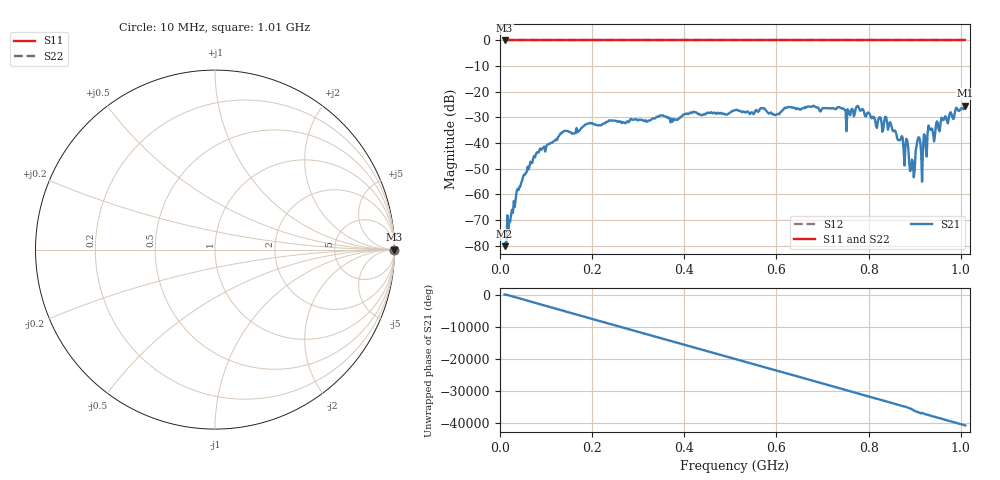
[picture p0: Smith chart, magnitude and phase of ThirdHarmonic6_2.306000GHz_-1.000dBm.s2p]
! 8/17/2025 3:10:10 AM
! C:\ANRITSUVNA\TEMP\TEMP.S2P
! CHANNEL.1
! TR.MEASUREMENT
! RAW.DATA
! RF.CORRECTION.OFF
! AVERAGING.OFF
! IF.BANDWIDTH: 5KHZ
! SWEEPTYPE:  FREQ.SWEEP(Linear)
! Reference Plane Port Info
! PORT:  PORT1  PORT2
! DISTANCE:  0  m  0  m
! TIME:  0  s  0  s
! PHASE.OFFSET:  0  deg.  0  deg.
! LOSS:  0  dB  0  dB
! REF.LOSS:  0  dB  0  dB
! REF.FREQ:  0  Hz  0  Hz
! Power Info
! POWER:  -20  dBm  -20  dBm
! EFF.POWER:  -20  dBm  -20  dBm
! SOURCE.ATTEN:  0  dB  0  dB
! TEST.ATTEN:  0  dB  0  dB
# GHZ S RI R 50.0
! FREQ.GHZ  S11RE  S11IM  S21RE  S21IM  S12RE  S12IM  S22RE  S22IM
!; PortSelection: Port_12
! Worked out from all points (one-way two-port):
!   501 points, 10 MHz to 1.01 GHz, reference 50 ohm
!   highest |S21| = -25.36 dB at 1.01 GHz (marker M1); lowest = -80.2 dB at 10 MHz (marker M2)
!   lowest |S11| = 0.0 dB at 10 MHz (marker M3)
!   |S11| at or under -10 dB: nowhere
!   |S22| runs from 0.0 to 0.0 dB; largest |S21 - S12| = 1.1
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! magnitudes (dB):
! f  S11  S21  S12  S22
! 10 MHz  0.0  -80.2  0.0  0.0
! 38 MHz  0.0  -57.8  0.0  0.0
! 76 MHz  0.0  -45.5  0.0  0.0
! 136 MHz  0.0  -35.7  0.0  0.0
! 178 MHz  0.0  -33.9  0.0  0.0
! 344 MHz  0.0  -29.7  0.0  0.0
! 374 MHz  0.0  -31.7  0.0  0.0
! 510 MHz  0.0  -27.2  0.0  0.0
! 596 MHz  0.0  -29.0  0.0  0.0
! 678 MHz  0.0  -25.7  0.0  0.0
! 736 MHz  0.0  -25.9  0.0  0.0
! 756 MHz  0.0  -27.3  0.0  0.0
! 776 MHz  0.0  -25.4  0.0  0.0
! 844 MHz  0.0  -33.0  0.0  0.0
! 884 MHz  0.0  -39.2  0.0  0.0
! 896 MHz  0.0  -47.4  0.0  0.0
! 908 MHz  0.0  -37.8  0.0  0.0
! 916 MHz  0.0  -55.1  0.0  0.0
! 932 MHz  0.0  -34.2  0.0  0.0
! 940 MHz  0.0  -36.6  0.0  0.0
! 962 MHz  0.0  -31.1  0.0  0.0
! 1.01 GHz  0.0  -25.4  0.0  0.0
